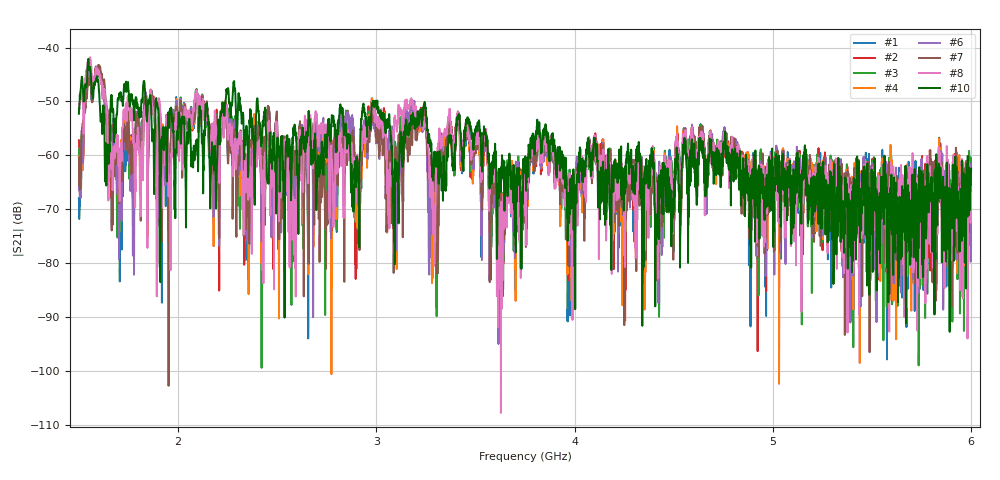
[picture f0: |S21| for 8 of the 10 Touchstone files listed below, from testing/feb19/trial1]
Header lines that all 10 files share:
!Keysight Technologies N9923A: A.08.15
!Timezone: (GMT-05:00) Eastern Time (US & Canada)
!Model: N9923A
!Serial: MY52412730
!GPS Latitude:
!GPS Longitude:
!GPS TimeStamp: 0001-01-01 00:00:00Z
!GPS Seconds Since Last Read: 0
!Correction: S11(ON Q)S21(ON Q)S12(ON Q)S22(ON Q)
!S2P File: Measurements:S11,S21,S12,S22:
# Hz S DB R 50
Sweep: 1.5 GHz to 6 GHz
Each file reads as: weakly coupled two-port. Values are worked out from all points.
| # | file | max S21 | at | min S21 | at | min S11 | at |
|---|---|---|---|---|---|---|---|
| 1 | test0.s2p | -43.67 dB | 1.585 GHz | -97.9 dB | 5.576 GHz | -30.9 dB | 3.769 GHz |
| 2 | test1.s2p | -43.28 dB | 1.602 GHz | -96.4 dB | 4.923 GHz | -30.8 dB | 3.769 GHz |
| 3 | test2.s2p | -43.65 dB | 1.599 GHz | -99.5 dB | 2.421 GHz | -30.8 dB | 3.769 GHz |
| 4 | test3.s2p | -43.66 dB | 1.599 GHz | -102.4 dB | 5.031 GHz | -30.9 dB | 3.769 GHz |
| 5 | test4.s2p | -43.31 dB | 1.584 GHz | -97.0 dB | 5.395 GHz | -31.0 dB | 3.769 GHz |
| 6 | test5.s2p | -43.41 dB | 1.601 GHz | -95.0 dB | 3.616 GHz | -30.8 dB | 3.26 GHz |
| 7 | test6.s2p | -43.20 dB | 1.598 GHz | -102.8 dB | 1.952 GHz | -30.9 dB | 3.769 GHz |
| 8 | test7.s2p | -41.79 dB | 1.556 GHz | -107.9 dB | 3.628 GHz | -30.9 dB | 3.263 GHz |
| 9 | test8.s2p | -45.54 dB | 1.547 GHz | -100.5 dB | 5.901 GHz | -31.1 dB | 3.263 GHz |
| 10 | test9.s2p | -42.15 dB | 1.548 GHz | -92.8 dB | 5.892 GHz | -30.8 dB | 3.769 GHz |
